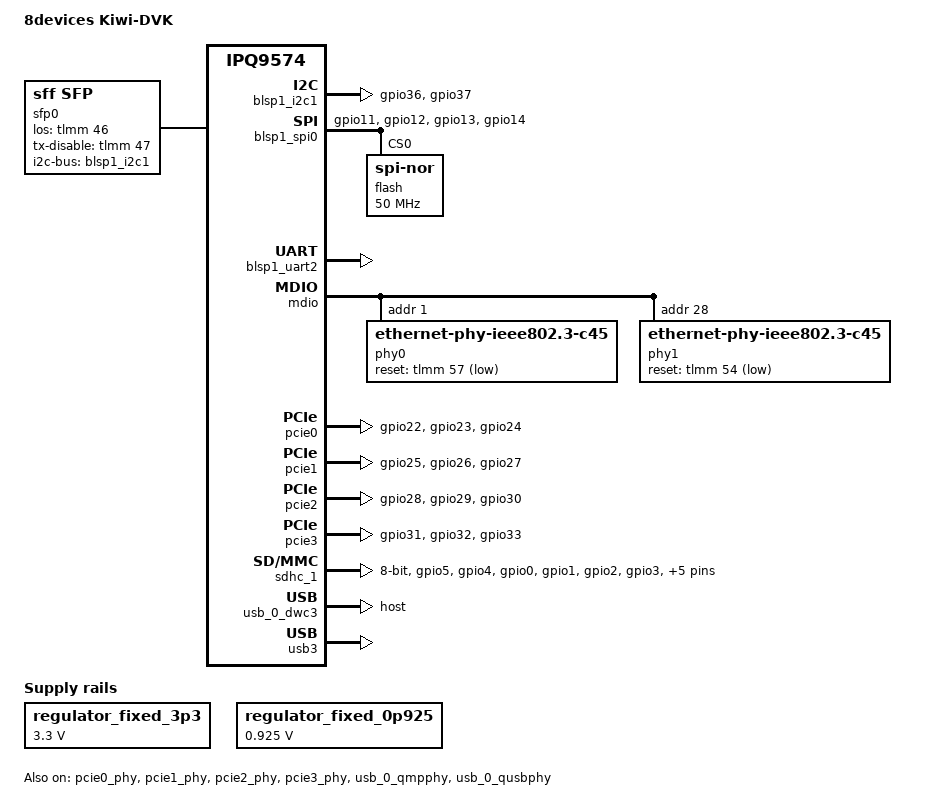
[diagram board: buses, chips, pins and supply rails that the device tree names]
// SPDX-License-Identifier: (GPL-2.0+ OR BSD-3-Clause)

/dts-v1/;

#include <dt-bindings/gpio/gpio.h>
#include "ipq9574.dtsi"

/ {
	model = "8devices Kiwi-DVK";
	compatible = "8devices,kiwi-dvk", "qcom,ipq9574";

	aliases {
		serial0 = &blsp1_uart2;
		ethernet0 = &xgmac1;
		ethernet1 = &xgmac5;
		ethernet2 = &xgmac6;
	};

	chosen {
		stdout-path = "serial0:115200n8";
	};

	regulator_fixed_3p3: s3300 {
		compatible = "regulator-fixed";
		regulator-min-microvolt = <3300000>;
		regulator-max-microvolt = <3300000>;
		regulator-boot-on;
		regulator-always-on;
		regulator-name = "fixed_3p3";
	};

	regulator_fixed_0p925: s0925 {
		compatible = "regulator-fixed";
		regulator-min-microvolt = <925000>;
		regulator-max-microvolt = <925000>;
		regulator-boot-on;
		regulator-always-on;
		regulator-name = "fixed_0p925";
	};

	sfp0: sfp-0 {
		compatible = "sff,sfp";
		pinctrl-0 = <&sfp0_default>;
		pinctrl-names = "default";
		i2c-bus = <&blsp1_i2c1>;
		los-gpios = <&tlmm 46 GPIO_ACTIVE_HIGH>;
		tx-disable-gpios = <&tlmm 47 GPIO_ACTIVE_HIGH>;
	};
};

&blsp1_i2c1 {
	pinctrl-0 = <&i2c1_default>;
	pinctrl-names = "default";
	status = "okay";
};

&blsp1_spi0 {
	pinctrl-0 = <&spi_0_default>;
	pinctrl-names = "default";
	status = "okay";

	flash@0 {
		compatible = "jedec,spi-nor";
		reg = <0>;
		spi-max-frequency = <50000000>;
	};
};

&blsp1_uart2 {
	pinctrl-0 = <&uart2_pins>;
	pinctrl-names = "default";
	status = "okay";
};

&crypto {
	status = "disabled";
};

&cryptobam {
	status = "disabled";
};

&qcom_ppe {
	ethernet-ports {
		#address-cells = <1>;
		#size-cells = <0>;

		xgmac1: port@1 {
			reg = <1>;
			phy-mode = "10gbase-r";
			managed = "in-band-status";
			label = "wan";
			sfp = <&sfp0>;
			pcs-handle = <&pcs0_ch0>;
			local-mac-address = [00 00 00 00 00 00];
			clocks = <&nsscc NSS_CC_PORT1_MAC_CLK>,
				 <&nsscc NSS_CC_PORT1_RX_CLK>,
				 <&nsscc NSS_CC_PORT1_TX_CLK>;
			clock-names = "mac",
				      "rx",
				      "tx";
			resets = <&nsscc PORT1_MAC_ARES>,
				 <&nsscc PORT1_RX_ARES>,
				 <&nsscc PORT1_TX_ARES>;
			reset-names = "mac",
				      "rx",
				      "tx";
		};

		xgmac5: port@5 {
			reg = <5>;
			phy-mode = "2500base-x";
			label = "lan1";
			phy-handle = <&phy0>;
			pcs-handle = <&pcs1_ch0>;
			local-mac-address = [00 00 00 00 00 00];
			clocks = <&nsscc NSS_CC_PORT5_MAC_CLK>,
				 <&nsscc NSS_CC_PORT5_RX_CLK>,
				 <&nsscc NSS_CC_PORT5_TX_CLK>;
			clock-names = "mac",
				      "rx",
				      "tx";
			resets = <&nsscc PORT5_MAC_ARES>,
				 <&nsscc PORT5_RX_ARES>,
				 <&nsscc PORT5_TX_ARES>;
			reset-names = "mac",
				      "rx",
				      "tx";
		};

		xgmac6: port@6 {
			reg = <6>;
			phy-mode = "usxgmii";
			managed = "in-band-status";
			label = "lan2";
			phy-handle = <&phy1>;
			pcs-handle = <&pcs2_ch0>;
			local-mac-address = [00 00 00 00 00 00];
			clocks = <&nsscc NSS_CC_PORT6_MAC_CLK>,
				 <&nsscc NSS_CC_PORT6_RX_CLK>,
				 <&nsscc NSS_CC_PORT6_TX_CLK>;
			clock-names = "mac",
				      "rx",
				      "tx";
			resets = <&nsscc PORT6_MAC_ARES>,
				 <&nsscc PORT6_RX_ARES>,
				 <&nsscc PORT6_TX_ARES>;
			reset-names = "mac",
				      "rx",
				      "tx";
		};
	};
};

&mdio {
	status = "okay";
	pinctrl-0 = <&mdio_pins>;
	pinctrl-names = "default";

	phy0: ethernet-phy@1 {
		compatible = "ethernet-phy-ieee802.3-c45";
		reg = <1>;
		reset-gpios = <&tlmm 57 GPIO_ACTIVE_LOW>;
	};

	phy1: ethernet-phy@28 {
		compatible = "ethernet-phy-ieee802.3-c45";
		reg = <28>;
		reset-assert-us = <40>;
		reset-deassert-us = <150000>;
		reset-gpios = <&tlmm 54 GPIO_ACTIVE_LOW>;
	};
};

&pcie0 {
	pinctrl-0 = <&pcie0_default>;
	pinctrl-names = "default";

	perst-gpios = <&tlmm 23 GPIO_ACTIVE_LOW>;
	wake-gpios = <&tlmm 24 GPIO_ACTIVE_LOW>;
	status = "okay";
};

&pcie0_phy {
	status = "okay";
};

&pcie1 {
	pinctrl-0 = <&pcie1_default>;
	pinctrl-names = "default";

	perst-gpios = <&tlmm 26 GPIO_ACTIVE_LOW>;
	wake-gpios = <&tlmm 27 GPIO_ACTIVE_LOW>;
	status = "okay";
};

&pcie1_phy {
	status = "okay";
};

&pcie2 {
	pinctrl-0 = <&pcie2_default>;
	pinctrl-names = "default";

	perst-gpios = <&tlmm 29 GPIO_ACTIVE_LOW>;
	wake-gpios = <&tlmm 30 GPIO_ACTIVE_LOW>;
	status = "okay";
};

&pcie2_phy {
	status = "okay";
};

&pcie3 {
	pinctrl-0 = <&pcie3_default>;
	pinctrl-names = "default";

	perst-gpios = <&tlmm 32 GPIO_ACTIVE_LOW>;
	wake-gpios = <&tlmm 33 GPIO_ACTIVE_LOW>;
	status = "okay";
};

&pcie3_phy {
	status = "okay";
};

&rpm_requests {
	regulators {
		compatible = "qcom,rpm-mp5496-regulators";

		ipq9574_s1: s1 {
		/*
		 * During kernel bootup, the SoC runs at 800MHz with 875mV set by the bootloaders.
		 * During regulator registration, kernel not knowing the initial voltage,
		 * considers it as zero and brings up the regulators with minimum supported voltage.
		 * Update the regulator-min-microvolt with SVS voltage of 725mV so that
		 * the regulators are brought up with 725mV which is sufficient for all the
		 * corner parts to operate at 800MHz
		 */
			regulator-min-microvolt = <725000>;
			regulator-max-microvolt = <1075000>;
		};

		mp5496_l5: l5 {
			regulator-min-microvolt = <1800000>;
			regulator-max-microvolt = <1800000>;
			regulator-always-on;
			regulator-boot-on;
		};
	};
};

&sdhc_1 {
	bus-width = <8>;
	max-frequency = <384000000>;
	mmc-ddr-1_8v;
	mmc-hs200-1_8v;
	mmc-hs400-1_8v;
	mmc-hs400-enhanced-strobe;
	pinctrl-0 = <&sdc_default_state>;
	pinctrl-names = "default";
	status = "okay";
};

&sleep_clk {
	clock-frequency = <32000>;
};

&tlmm {
	sdc_default_state: sdc-default-state {
		clk-pins {
			pins = "gpio5";
			function = "sdc_clk";
			drive-strength = <8>;
			bias-disable;
		};

		cmd-pins {
			pins = "gpio4";
			function = "sdc_cmd";
			drive-strength = <8>;
			bias-pull-up;
		};

		data-pins {
			pins = "gpio0", "gpio1", "gpio2",
			       "gpio3", "gpio6", "gpio7",
			       "gpio8", "gpio9";
			function = "sdc_data";
			drive-strength = <8>;
			bias-pull-up;
		};

		rclk-pins {
			pins = "gpio10";
			function = "sdc_rclk";
			drive-strength = <8>;
			bias-pull-down;
		};
	};

	spi_0_default: spi-0-default-state {
		pins = "gpio11", "gpio12", "gpio13", "gpio14";
		function = "blsp0_spi";
		drive-strength = <8>;
		bias-disable;
	};

	pcie0_default: pcie0-default-state {
		clkreq-n-pins {
			pins = "gpio22";
			function = "pcie0_clk";
			drive-strength = <6>;
			bias-pull-up;
		};

		perst-n-pins {
			pins = "gpio23";
			function = "gpio";
			drive-strength = <8>;
			bias-pull-down;
			output-low;
		};

		wake-n-pins {
			pins = "gpio24";
			function = "pcie0_wake";
			drive-strength = <6>;
			bias-pull-up;
		};
	};

	pcie1_default: pcie1-default-state {
		clkreq-n-pins {
			pins = "gpio25";
			function = "pcie1_clk";
			drive-strength = <6>;
			bias-pull-up;
		};

		perst-n-pins {
			pins = "gpio26";
			function = "gpio";
			drive-strength = <8>;
			bias-pull-down;
			output-low;
		};

		wake-n-pins {
			pins = "gpio27";
			function = "pcie1_wake";
			drive-strength = <6>;
			bias-pull-up;
		};
	};

	pcie2_default: pcie2-default-state {
		clkreq-n-pins {
			pins = "gpio28";
			function = "pcie2_clk";
			drive-strength = <6>;
			bias-pull-up;
		};

		perst-n-pins {
			pins = "gpio29";
			function = "gpio";
			drive-strength = <8>;
			bias-pull-down;
			output-low;
		};

		wake-n-pins {
			pins = "gpio30";
			function = "pcie2_wake";
			drive-strength = <6>;
			bias-pull-up;
		};
	};

	pcie3_default: pcie3-default-state {
		clkreq-n-pins {
			pins = "gpio31";
			function = "pcie3_clk";
			drive-strength = <6>;
			bias-pull-up;
		};

		perst-n-pins {
			pins = "gpio32";
			function = "gpio";
			drive-strength = <8>;
			bias-pull-up;
			output-low;
		};

		wake-n-pins {
			pins = "gpio33";
			function = "pcie3_wake";
			drive-strength = <6>;
			bias-pull-up;
		};
	};

	i2c1_default: i2c1-default-state {
		pins = "gpio36", "gpio37";
		function = "blsp1_i2c";
		drive-strength = <8>;
		bias-pull-up;
	};

	sfp0_default: sfp0-default-state {
		pins = "gpio46", "gpio47";
		function = "gpio";
		drive-strength = <8>;
		bias-pull-down;
	};
};

&usb_0_dwc3 {
	dr_mode = "host";
};

&usb_0_qmpphy {
	vdda-pll-supply = <&mp5496_l5>;
	vdda-phy-supply = <&regulator_fixed_0p925>;

	status = "okay";
};

&usb_0_qusbphy {
	vdd-supply = <&regulator_fixed_0p925>;
	vdda-pll-supply = <&mp5496_l5>;
	vdda-phy-dpdm-supply = <&regulator_fixed_3p3>;

	status = "okay";
};

&usb3 {
	status = "okay";
};

/*
 * The bootstrap pins for the board select the XO clock frequency,
 * which automatically enables the right dividers to ensure the
 * reference clock output from WiFi is 48 MHZ.
 */
&ref_48mhz_clk {
	clock-div = <1>;
	clock-mult = <1>;
};

/*
 * The frequency of xo_board_clk is fixed to 24 MHZ, which is routed
 * from WiFi output clock 48 MHZ divided by 2.
 */
&xo_board_clk {
	clock-div = <2>;
	clock-mult = <1>;
};

&xo_clk {
	clock-frequency = <48000000>;
};
